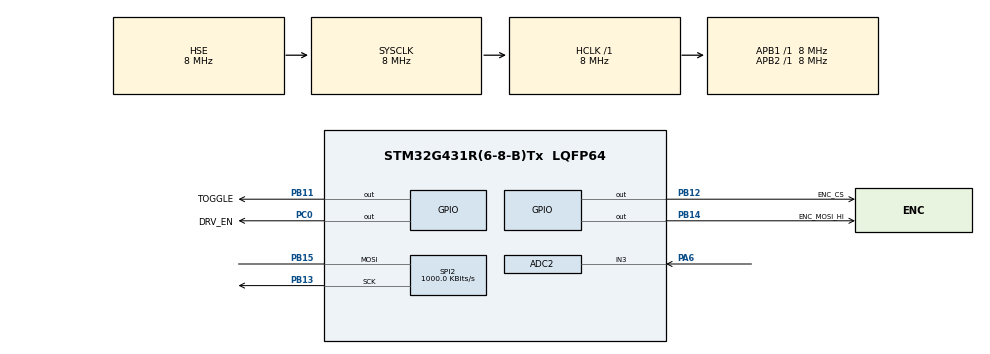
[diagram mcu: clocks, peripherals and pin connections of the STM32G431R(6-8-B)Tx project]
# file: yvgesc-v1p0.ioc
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ADC1.Channel-0\#ChannelRegularConversion=ADC_CHANNEL_VREFINT
ADC1.ClockPrescaler=ADC_CLOCK_SYNC_PCLK_DIV4
ADC1.NbrOfConversionFlag=1
ADC1.OffsetNumber-0\#ChannelRegularConversion=ADC_OFFSET_NONE
ADC1.Rank-0\#ChannelRegularConversion=1
ADC1.SamplingTime-0\#ChannelRegularConversion=ADC_SAMPLETIME_247CYCLES_5
ADC1.master=1
ADC2.Channel-0\#ChannelRegularConversion=ADC_CHANNEL_3
ADC2.ClockPrescaler=ADC_CLOCK_SYNC_PCLK_DIV4
ADC2.NbrOfConversionFlag=1
ADC2.OffsetNumber-0\#ChannelRegularConversion=ADC_OFFSET_NONE
ADC2.Overrun=ADC_OVR_DATA_OVERWRITTEN
ADC2.Rank-0\#ChannelRegularConversion=1
ADC2.SamplingTime-0\#ChannelRegularConversion=ADC_SAMPLETIME_247CYCLES_5
Mcu.Family=STM32G4
Mcu.Name=STM32G431R(6-8-B)Tx
Mcu.Package=LQFP64
NVIC.PriorityGroup=NVIC_PRIORITYGROUP_4
PA13.Mode=Serial_Wire
PA13.Signal=SYS_JTMS-SWDIO
PA14.Mode=Serial_Wire
PA14.Signal=SYS_JTCK-SWCLK
PA6.Mode=IN3-Single-Ended
PA6.Signal=ADC2_IN3
PB11.GPIO_Label=TOGGLE
PB11.Signal=GPIO_Output
PB12.GPIO_Label=ENC_CS
PB12.PinState=GPIO_PIN_SET
PB12.Signal=GPIO_Output
PB13.Mode=Simplex_Bidirectional_Master
PB13.Signal=SPI2_SCK
PB14.GPIO_Label=ENC_MOSI_HI
PB14.PinState=GPIO_PIN_SET
PB14.Signal=GPIO_Output
PB15.Mode=Simplex_Bidirectional_Master
PB15.Signal=SPI2_MOSI
PC0.GPIO_Label=DRV_EN
PC0.Signal=GPIO_Output
PF0-OSC_IN.Mode=HSE-External-Oscillator
PF0-OSC_IN.Signal=RCC_OSC_IN
PF1-OSC_OUT.Mode=HSE-External-Oscillator
PF1-OSC_OUT.Signal=RCC_OSC_OUT
ProjectManager.HeapSize=0x200
ProjectManager.StackSize=0x400
ProjectManager.TargetToolchain=CMake
RCC.ADC12Freq_Value=8000000
RCC.AHBFreq_Value=8000000
RCC.APB1Freq_Value=8000000
RCC.APB1TimFreq_Value=8000000
RCC.APB2Freq_Value=8000000
RCC.APB2TimFreq_Value=8000000
RCC.CortexFreq_Value=8000000
RCC.EXTERNAL_CLOCK_VALUE=12288000
RCC.HCLKFreq_Value=8000000
RCC.HSE_VALUE=8000000
RCC.HSI48_VALUE=48000000
RCC.HSI_VALUE=16000000
RCC.LSE_VALUE=32768
RCC.PLLSourceVirtual=RCC_PLLSOURCE_HSE
RCC.SYSCLKFreq_VALUE=8000000
RCC.SYSCLKSource=RCC_SYSCLKSOURCE_HSE
RCC.USBFreq_Value=32000000
RCC.VCOOutputFreq_Value=64000000
SPI2.BaudRatePrescaler=SPI_BAUDRATEPRESCALER_8
SPI2.CLKPhase=SPI_PHASE_2EDGE
SPI2.CalculateBaudRate=1000.0 KBits/s
SPI2.DataSize=SPI_DATASIZE_16BIT
SPI2.Direction=SPI_DIRECTION_1LINE
SPI2.Mode=SPI_MODE_MASTER
SPI2.VirtualType=VM_MASTER
VP_ADC1_Vref_Input.Mode=IN-Vrefint
VP_SYS_VS_DBSignals.Mode=DisableDeadBatterySignals
board=custom

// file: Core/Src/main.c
/* USER CODE BEGIN Header */
/**
  ******************************************************************************
  * @file           : main.c
  * @brief          : Main program body
  ******************************************************************************
  * @attention
  *
  * Copyright (c) 2026 STMicroelectronics.
  * All rights reserved.
  *
  * This software is licensed under terms that can be found in the LICENSE file
  * in the root directory of this software component.
  * If no LICENSE file comes with this software, it is provided AS-IS.
  *
  ******************************************************************************
  */
/* USER CODE END Header */
#include "main.h"

ADC_HandleTypeDef hadc1;
ADC_HandleTypeDef hadc2;

SPI_HandleTypeDef hspi2;

/* USER CODE BEGIN PV */

volatile uint16_t raw, ang, amin = 0xFFFF, amax = 0;
volatile uint32_t par_err = 0, ef_cnt = 0, reads = 0;
volatile uint32_t drv_on = 1;   /* 1 = DRV awake, 0 = asleep */
volatile uint32_t nf_adc;
volatile uint32_t adc_st;
volatile uint32_t vref_adc, vref_st, vdda_mv;

/* USER CODE END PV */

void SystemClock_Config(void);
static void MX_GPIO_Init(void);
static void MX_SPI2_Init(void);
static void MX_ADC2_Init(void);
static void MX_ADC1_Init(void);

/* USER CODE BEGIN 0 */

static uint16_t enc_frame(void)
{
    uint16_t rx = 0;
    HAL_GPIO_WritePin(ENC_CS_GPIO_Port, ENC_CS_Pin, GPIO_PIN_RESET);
    HAL_SPI_Receive(&hspi2, (uint8_t *)&rx, 1, 10);   /* receive only, never transmit */
    HAL_GPIO_WritePin(ENC_CS_GPIO_Port, ENC_CS_Pin, GPIO_PIN_SET);
    return rx;
}

/* USER CODE END 0 */

int main(void)
{

  /* MCU Configuration--------------------------------------------------------*/

  /* Reset of all peripherals, Initializes the Flash interface and the Systick. */
  HAL_Init();

  /* Configure the system clock */
  SystemClock_Config();

  /* Initialize all configured peripherals */
  MX_GPIO_Init();
  MX_SPI2_Init();
  MX_ADC2_Init();
  MX_ADC1_Init();
  /* USER CODE BEGIN 2 */

  HAL_Delay(10);                                              /* settle */
  HAL_ADCEx_Calibration_Start(&hadc2, ADC_SINGLE_ENDED);
  HAL_ADCEx_Calibration_Start(&hadc1, ADC_SINGLE_ENDED);
  //HAL_GPIO_WritePin(DRV_EN_GPIO_Port, DRV_EN_Pin, GPIO_PIN_SET);
  HAL_Delay(2);                                               /* DRV wake-up */
  /* USER CODE END 2 */

  /* Infinite loop */
  while (1)
    {

    /* USER CODE BEGIN 3 */

      /* --- DRV enable, switchable from the debugger --- */
      HAL_GPIO_WritePin(DRV_EN_GPIO_Port, DRV_EN_Pin,
                        drv_on ? GPIO_PIN_SET : GPIO_PIN_RESET);
      HAL_ADC_Start(&hadc1);
      vref_st = HAL_ADC_PollForConversion(&hadc1, 2);
      if (vref_st == HAL_OK) {
          vref_adc = HAL_ADC_GetValue(&hadc1);
          if (vref_adc > 0)
              vdda_mv = __HAL_ADC_CALC_VREFANALOG_VOLTAGE(vref_adc, ADC_RESOLUTION_12B);
      }
      /* --- nFAULT via ADC2 channel 3 (PA6) --- */
      HAL_ADC_Start(&hadc2);
      adc_st = HAL_ADC_PollForConversion(&hadc2, 2);
      if (adc_st == HAL_OK) nf_adc = HAL_ADC_GetValue(&hadc2);

      /* --- AS5047P angle read (SPI2 half-duplex receive) --- */
      raw = enc_frame();
      reads++;
      if (__builtin_parity(raw))      par_err++;   /* even parity: should be 0 */
      else if (raw & 0x4000)          ef_cnt++;    /* encoder error flag */
      else {
          ang = raw & 0x3FFF;
          if (ang < amin) amin = ang;
          if (ang > amax) amax = ang;
      }

      /* --- PB11 heartbeat --- */
      static uint32_t t = 0;
      if (HAL_GetTick() - t >= 500) {
          t = HAL_GetTick();
          HAL_GPIO_TogglePin(TOGGLE_GPIO_Port, TOGGLE_Pin);
      }

      HAL_Delay(1);
    }
  /* USER CODE END 3 */
}

void SystemClock_Config(void)
{
  RCC_OscInitTypeDef RCC_OscInitStruct = {0};
  RCC_ClkInitTypeDef RCC_ClkInitStruct = {0};

  /** Configure the main internal regulator output voltage
  */
  HAL_PWREx_ControlVoltageScaling(PWR_REGULATOR_VOLTAGE_SCALE1);

  /** Initializes the RCC Oscillators according to the specified parameters
  * in the RCC_OscInitTypeDef structure.
  */
  RCC_OscInitStruct.OscillatorType = RCC_OSCILLATORTYPE_HSE;
  RCC_OscInitStruct.HSEState = RCC_HSE_ON;
  RCC_OscInitStruct.PLL.PLLState = RCC_PLL_NONE;
  if (HAL_RCC_OscConfig(&RCC_OscInitStruct) != HAL_OK)
  {
    Error_Handler();
  }

  /** Initializes the CPU, AHB and APB buses clocks
  */
  RCC_ClkInitStruct.ClockType = RCC_CLOCKTYPE_HCLK|RCC_CLOCKTYPE_SYSCLK
                              |RCC_CLOCKTYPE_PCLK1|RCC_CLOCKTYPE_PCLK2;
  RCC_ClkInitStruct.SYSCLKSource = RCC_SYSCLKSOURCE_HSE;
  RCC_ClkInitStruct.AHBCLKDivider = RCC_SYSCLK_DIV1;
  RCC_ClkInitStruct.APB1CLKDivider = RCC_HCLK_DIV1;
  RCC_ClkInitStruct.APB2CLKDivider = RCC_HCLK_DIV1;

  if (HAL_RCC_ClockConfig(&RCC_ClkInitStruct, FLASH_LATENCY_0) != HAL_OK)
  {
    Error_Handler();
  }
}

static void MX_ADC1_Init(void)
{

  ADC_MultiModeTypeDef multimode = {0};
  ADC_ChannelConfTypeDef sConfig = {0};

  /** Common config
  */
  hadc1.Instance = ADC1;
  hadc1.Init.ClockPrescaler = ADC_CLOCK_SYNC_PCLK_DIV4;
  hadc1.Init.Resolution = ADC_RESOLUTION_12B;
  hadc1.Init.DataAlign = ADC_DATAALIGN_RIGHT;
  hadc1.Init.GainCompensation = 0;
  hadc1.Init.ScanConvMode = ADC_SCAN_DISABLE;
  hadc1.Init.EOCSelection = ADC_EOC_SINGLE_CONV;
  hadc1.Init.LowPowerAutoWait = DISABLE;
  hadc1.Init.ContinuousConvMode = DISABLE;
  hadc1.Init.NbrOfConversion = 1;
  hadc1.Init.DiscontinuousConvMode = DISABLE;
  hadc1.Init.ExternalTrigConv = ADC_SOFTWARE_START;
  hadc1.Init.ExternalTrigConvEdge = ADC_EXTERNALTRIGCONVEDGE_NONE;
  hadc1.Init.DMAContinuousRequests = DISABLE;
  hadc1.Init.Overrun = ADC_OVR_DATA_PRESERVED;
  hadc1.Init.OversamplingMode = DISABLE;
  if (HAL_ADC_Init(&hadc1) != HAL_OK)
  {
    Error_Handler();
  }

  /** Configure the ADC multi-mode
  */
  multimode.Mode = ADC_MODE_INDEPENDENT;
  if (HAL_ADCEx_MultiModeConfigChannel(&hadc1, &multimode) != HAL_OK)
  {
    Error_Handler();
  }

  /** Configure Regular Channel
  */
  sConfig.Channel = ADC_CHANNEL_VREFINT;
  sConfig.Rank = ADC_REGULAR_RANK_1;
  sConfig.SamplingTime = ADC_SAMPLETIME_247CYCLES_5;
  sConfig.SingleDiff = ADC_SINGLE_ENDED;
  sConfig.OffsetNumber = ADC_OFFSET_NONE;
  sConfig.Offset = 0;
  if (HAL_ADC_ConfigChannel(&hadc1, &sConfig) != HAL_OK)
  {
    Error_Handler();
  }

}

static void MX_ADC2_Init(void)
{

  ADC_ChannelConfTypeDef sConfig = {0};

  /** Common config
  */
  hadc2.Instance = ADC2;
  hadc2.Init.ClockPrescaler = ADC_CLOCK_SYNC_PCLK_DIV4;
  hadc2.Init.Resolution = ADC_RESOLUTION_12B;
  hadc2.Init.DataAlign = ADC_DATAALIGN_RIGHT;
  hadc2.Init.GainCompensation = 0;
  hadc2.Init.ScanConvMode = ADC_SCAN_DISABLE;
  hadc2.Init.EOCSelection = ADC_EOC_SINGLE_CONV;
  hadc2.Init.LowPowerAutoWait = DISABLE;
  hadc2.Init.ContinuousConvMode = DISABLE;
  hadc2.Init.NbrOfConversion = 1;
  hadc2.Init.DiscontinuousConvMode = DISABLE;
  hadc2.Init.ExternalTrigConv = ADC_SOFTWARE_START;
  hadc2.Init.ExternalTrigConvEdge = ADC_EXTERNALTRIGCONVEDGE_NONE;
  hadc2.Init.DMAContinuousRequests = DISABLE;
  hadc2.Init.Overrun = ADC_OVR_DATA_OVERWRITTEN;
  hadc2.Init.OversamplingMode = DISABLE;
  if (HAL_ADC_Init(&hadc2) != HAL_OK)
  {
    Error_Handler();
  }

  /** Configure Regular Channel
  */
  sConfig.Channel = ADC_CHANNEL_3;
  sConfig.Rank = ADC_REGULAR_RANK_1;
  sConfig.SamplingTime = ADC_SAMPLETIME_247CYCLES_5;
  sConfig.SingleDiff = ADC_SINGLE_ENDED;
  sConfig.OffsetNumber = ADC_OFFSET_NONE;
  sConfig.Offset = 0;
  if (HAL_ADC_ConfigChannel(&hadc2, &sConfig) != HAL_OK)
  {
    Error_Handler();
  }

}

static void MX_SPI2_Init(void)
{

  /* SPI2 parameter configuration*/
  hspi2.Instance = SPI2;
  hspi2.Init.Mode = SPI_MODE_MASTER;
  hspi2.Init.Direction = SPI_DIRECTION_1LINE;
  hspi2.Init.DataSize = SPI_DATASIZE_16BIT;
  hspi2.Init.CLKPolarity = SPI_POLARITY_LOW;
  hspi2.Init.CLKPhase = SPI_PHASE_2EDGE;
  hspi2.Init.NSS = SPI_NSS_SOFT;
  hspi2.Init.BaudRatePrescaler = SPI_BAUDRATEPRESCALER_8;
  hspi2.Init.FirstBit = SPI_FIRSTBIT_MSB;
  hspi2.Init.TIMode = SPI_TIMODE_DISABLE;
  hspi2.Init.CRCCalculation = SPI_CRCCALCULATION_DISABLE;
  hspi2.Init.CRCPolynomial = 7;
  hspi2.Init.CRCLength = SPI_CRC_LENGTH_DATASIZE;
  hspi2.Init.NSSPMode = SPI_NSS_PULSE_DISABLE;
  if (HAL_SPI_Init(&hspi2) != HAL_OK)
  {
    Error_Handler();
  }

}

static void MX_GPIO_Init(void)
{
  GPIO_InitTypeDef GPIO_InitStruct = {0};

  /* GPIO Ports Clock Enable */
  __HAL_RCC_GPIOF_CLK_ENABLE();
  __HAL_RCC_GPIOC_CLK_ENABLE();
  __HAL_RCC_GPIOA_CLK_ENABLE();
  __HAL_RCC_GPIOB_CLK_ENABLE();

  /*Configure GPIO pin Output Level */
  HAL_GPIO_WritePin(DRV_EN_GPIO_Port, DRV_EN_Pin, GPIO_PIN_RESET);

  /*Configure GPIO pin Output Level */
  HAL_GPIO_WritePin(TOGGLE_GPIO_Port, TOGGLE_Pin, GPIO_PIN_RESET);

  /*Configure GPIO pin Output Level */
  HAL_GPIO_WritePin(GPIOB, ENC_CS_Pin|ENC_MOSI_HI_Pin, GPIO_PIN_SET);

  /*Configure GPIO pin : DRV_EN_Pin */
  GPIO_InitStruct.Pin = DRV_EN_Pin;
  GPIO_InitStruct.Mode = GPIO_MODE_OUTPUT_PP;
  GPIO_InitStruct.Pull = GPIO_NOPULL;
  GPIO_InitStruct.Speed = GPIO_SPEED_FREQ_LOW;
  HAL_GPIO_Init(DRV_EN_GPIO_Port, &GPIO_InitStruct);

  /*Configure GPIO pins : TOGGLE_Pin ENC_CS_Pin ENC_MOSI_HI_Pin */
  GPIO_InitStruct.Pin = TOGGLE_Pin|ENC_CS_Pin|ENC_MOSI_HI_Pin;
  GPIO_InitStruct.Mode = GPIO_MODE_OUTPUT_PP;
  GPIO_InitStruct.Pull = GPIO_NOPULL;
  GPIO_InitStruct.Speed = GPIO_SPEED_FREQ_LOW;
  HAL_GPIO_Init(GPIOB, &GPIO_InitStruct);

}

void Error_Handler(void)
{
  __disable_irq();
  while (1)
  {
  }
}
